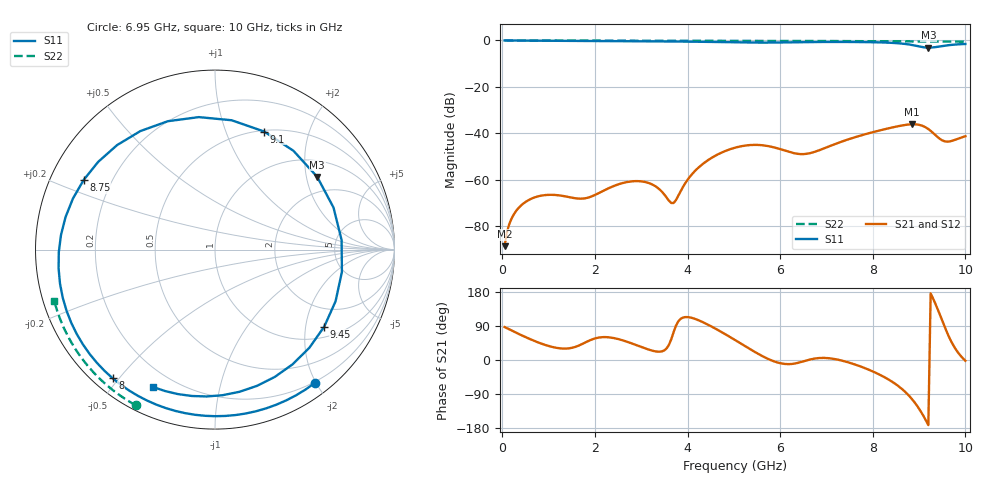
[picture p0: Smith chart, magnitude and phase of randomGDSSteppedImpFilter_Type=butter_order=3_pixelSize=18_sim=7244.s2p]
! freq	dB(S11)	phase(S11)	dB(S12)	phase(S12)
!  dB(S21)	phase(S21)	dB(S22)	phase(S22)
!S-par simulation data
#  GHz  S  DB  R 50
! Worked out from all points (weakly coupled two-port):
!   200 points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, 50 MHz to 10 GHz, reference 50 ohm
!   highest |S21| = -36.12 dB at 8.85 GHz (marker M1); lowest = -88.7 dB at 50 MHz (marker M2)
!   lowest |S11| = -3.1 dB at 9.2 GHz (marker M3), VSWR 5.64, Z = 73.2 + j116 ohm
!   |S11| at or under -10 dB: nowhere
!   |S22| runs from -0.5 to 0.0 dB; largest |S21 - S12| = 0
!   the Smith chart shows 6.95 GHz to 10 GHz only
!   S11 on the Smith chart (normalised r, x): 6.95 GHz: 0.19, -1.99; 8 GHz: 0.05, -0.48; 8.75 GHz: 0.10, +0.25; 9.1 GHz: 0.51, +1.37; 9.45 GHz: 1.32, -2.54; 10 GHz: 0.12, -0.64
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0.05  -0.00 -5.2  -88.66 87.0  -88.66 87.0  -0.00 -0.9
0.85  -0.12 -85.5  -66.85 43.0  -66.85 43.0  -0.02 -15.8
1.75  -0.21 -169.0  -68.13 43.7  -68.13 43.7  -0.04 -32.2
2.7  -0.31 99.6  -61.00 47.9  -61.00 47.9  -0.06 -49.0
3.4  -0.40 23.5  -64.26 21.9  -64.26 21.9  -0.08 -61.0
3.7  -0.45 -10.8  -70.04 73.8  -70.04 73.8  -0.09 -66.1
4.3  -0.57 -80.8  -53.69 101.6  -53.69 101.6  -0.11 -76.0
4.65  -0.68 -123.5  -49.14 79.6  -49.14 79.6  -0.12 -81.6
5.05  -0.83 -176.7  -46.09 51.0  -46.09 51.0  -0.14 -88.0
5.45  -0.94 124.8  -45.00 21.5  -45.00 21.5  -0.15 -94.2
5.75  -0.93 80.1  -45.56 2.2  -45.56 2.2  -0.17 -98.9
6.2  -0.81 20.1  -48.06 -10.8  -48.06 -10.8  -0.19 -105.7
6.7  -0.68 -31.9  -48.29 2.9  -48.29 2.9  -0.22 -113.2
6.95  -0.65 -53.1  -46.50 5.5  -46.50 5.5  -0.24 -117.0
8  -0.76 -128.6  -39.54 -30.2  -39.54 -30.2  -0.32 -132.4
8.35  -0.97 -157.6  -37.82 -52.2  -37.82 -52.2  -0.35 -137.6
8.75  -1.64 152.0  -36.28 -90.1  -36.28 -90.1  -0.39 -143.5
8.85  -1.96 133.1  -36.12 -103.7  -36.12 -103.7  -0.40 -145.0
9.1  -2.94 67.4  -37.02 -148.9  -37.02 -148.9  -0.43 -148.7
9.2  -3.11 35.4  -38.19 -171.8  -38.19 -171.8  -0.44 -150.2
9.45  -2.56 -35.2  -42.42 119.5  -42.42 119.5  -0.47 -153.9
10  -1.52 -114.2  -41.29 -2.0  -41.29 -2.0  -0.54 -162.3
